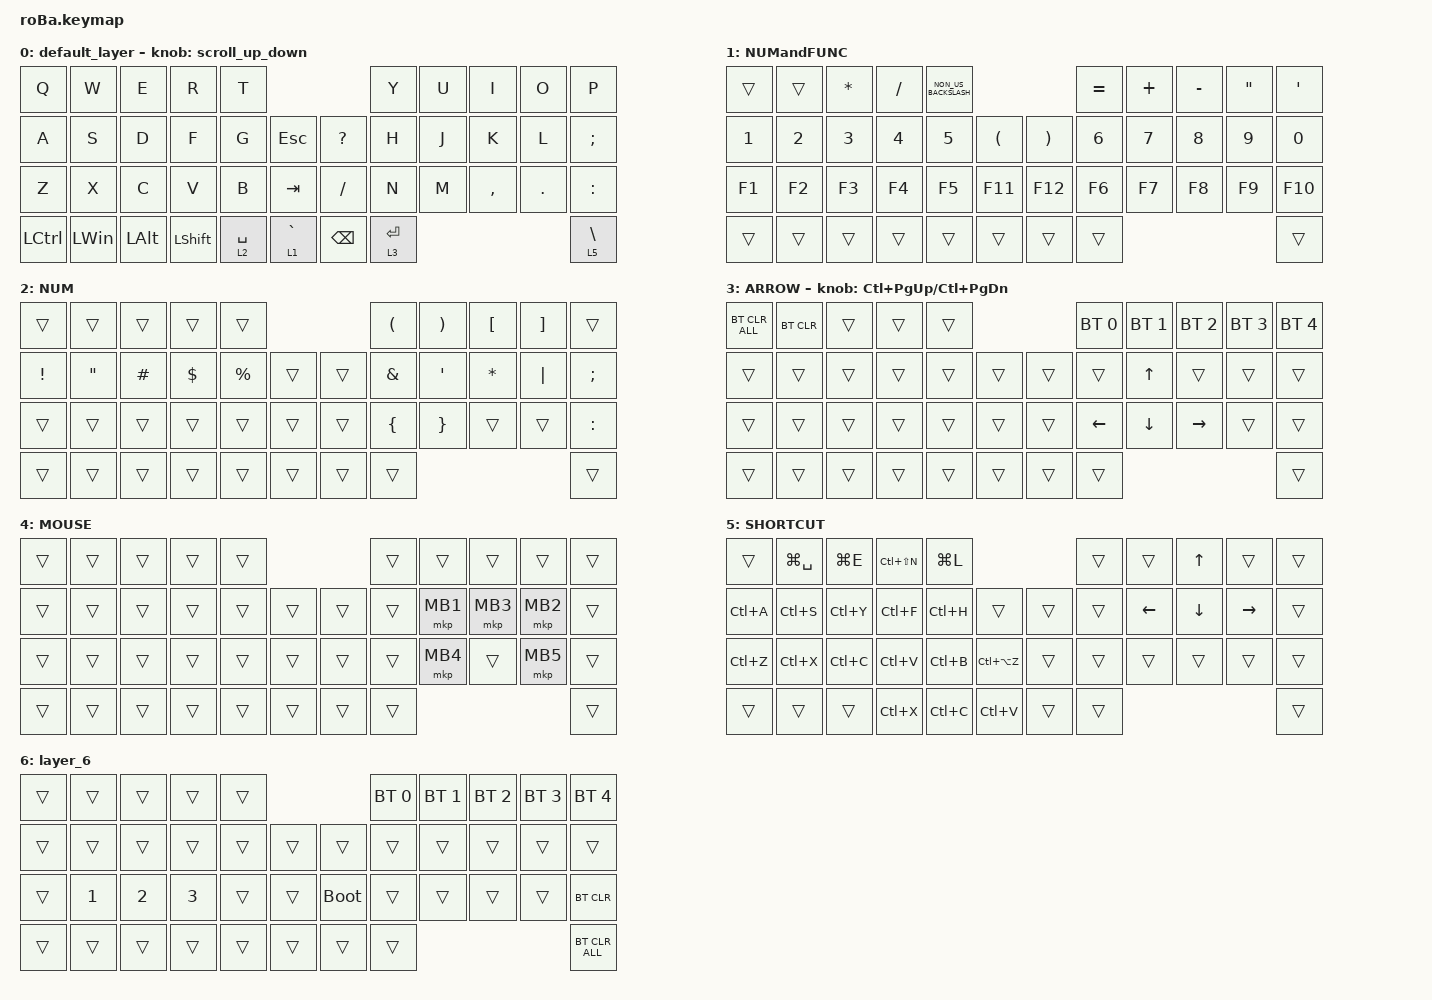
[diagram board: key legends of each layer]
#include <behaviors.dtsi>
#include <dt-bindings/zmk/bt.h>
#include <dt-bindings/zmk/keys.h>
#include <dt-bindings/zmk/pointing.h>

#define ZMK_POINTING_DEFAULT_SCRL_VAL 100

&mt {
    flavor = "balanced";
    quick-tap-ms = <0>;
};

/ {
    combos {
        compatible = "zmk,combos";

        tab {
            bindings = <&kp TAB>;
            key-positions = <11 12>;
        };

        shift_tab {
            bindings = <&kp LS(TAB)>;
            key-positions = <12 13>;
        };

        muhennkann {
            bindings = <&to_layer_0 INT_MUHENKAN>;
            key-positions = <11 10>;
        };

        double_quotation {
            bindings = <&kp DOUBLE_QUOTES>;
            key-positions = <20 21>;
        };

        eq {
            bindings = <&kp EQUAL>;
            key-positions = <24 25>;
        };
    };

    macros {
        to_layer_0: to_layer_0 {
            compatible = "zmk,behavior-macro-one-param";
            #binding-cells = <1>;
            bindings = <&to 0 &macro_param_1to1 &kp MACRO_PLACEHOLDER>;
            label = "TO_LAYER_0";
        };
    };

    behaviors {
        scroll_up_down: behavior_sensor_rotate_mouse_wheel_up_down {
            compatible = "zmk,behavior-sensor-rotate";
            #sensor-binding-cells = <0>;
            bindings = <&msc SCRL_DOWN>, <&msc SCRL_UP>;

            // 追加: スクロールのタップ時間を設定 (20ms)

            tap-ms = <20>;
        };

        lt_to_layer_0: lt_to_layer_0 {
            compatible = "zmk,behavior-hold-tap";
            label = "LAYER_TAP_TO_0";
            bindings = <&mo>, <&to_layer_0>;

            #binding-cells = <2>;
            tapping-term-ms = <200>;
        };

        encoder_msc_down_up: encoder_msc_down_up {
            compatible = "zmk,behavior-sensor-rotate";
            label = "ENCODER_MSC_DOWN_UP";
            #sensor-binding-cells = <0>;
            bindings = <&msc SCRL_DOWN>, <&msc SCRL_UP>;

            tap-ms = <20>;
        };
    };

    keymap {
        compatible = "zmk,keymap";

        default_layer {
            bindings = <
&kp Q      &kp W         &kp E         &kp R           &kp T                                        &kp Y        &kp U  &kp I      &kp O    &kp P
&kp A      &kp S         &kp D         &kp F           &kp G        &kp ESCAPE       &kp QUESTION   &kp H        &kp J  &kp K      &kp L    &kp SEMICOLON
&kp Z      &kp X         &kp C         &kp V           &kp B        &kp TAB          &kp SLASH      &kp N        &kp M  &kp COMMA  &kp DOT  &kp COLON
&kp LCTRL  &kp LEFT_WIN  &kp LEFT_ALT  &kp LEFT_SHIFT  &lt 2 SPACE  &lt 1 GRAVE      &kp BACKSPACE  &lt 3 ENTER                             &lt 5 BACKSLASH
            >;

            // sensor-bindings = <&scroll_up_down>;
            // sensor-bindings = <&inc_dec_kp PG_UP PAGE_DOWN>;

            sensor-bindings = <&scroll_up_down>;
        };

        NUMandFUNC {
            bindings = <
&trans        &trans        &kp ASTERISK  &kp SLASH     &kp NON_US_BACKSLASH                                                   &kp EQUAL     &kp PLUS      &kp MINUS     &kp DOUBLE_QUOTES  &kp SQT
&kp NUMBER_1  &kp NUMBER_2  &kp NUMBER_3  &kp NUMBER_4  &kp NUMBER_5          &kp LEFT_PARENTHESIS      &kp RIGHT_PARENTHESIS  &kp NUMBER_6  &kp NUMBER_7  &kp NUMBER_8  &kp NUMBER_9       &kp NUMBER_0
&kp F1        &kp F2        &kp F3        &kp F4        &kp F5                &kp F11                   &kp F12                &kp F6        &kp F7        &kp F8        &kp F9             &kp F10
&trans        &trans        &trans        &trans        &trans                &trans                    &trans                 &trans                                                       &trans
            >;
        };

        NUM {
            bindings = <
&trans           &trans             &trans    &trans      &trans                           &kp LEFT_PARENTHESIS  &kp RIGHT_PARENTHESIS  &kp LEFT_BRACKET  &kp RIGHT_BRACKET  &trans
&kp EXCLAMATION  &kp DOUBLE_QUOTES  &kp HASH  &kp DOLLAR  &kp PERCENT  &trans      &trans  &kp AMPERSAND         &kp SQT                &kp ASTERISK      &kp PIPE           &kp SEMICOLON
&trans           &trans             &trans    &trans      &trans       &trans      &trans  &kp LEFT_BRACE        &kp RIGHT_BRACE        &trans            &trans             &kp COLON
&trans           &trans             &trans    &trans      &trans       &trans      &trans  &trans                                                                            &trans
            >;
        };

        ARROW {
            bindings = <
&bt BT_CLR_ALL  &bt BT_CLR  &trans  &trans  &trans                      &bt BT_SEL 0    &bt BT_SEL 1    &bt BT_SEL 2     &bt BT_SEL 3  &bt BT_SEL 4
&trans          &trans      &trans  &trans  &trans  &trans      &trans  &trans          &kp UP_ARROW    &trans           &trans        &trans
&trans          &trans      &trans  &trans  &trans  &trans      &trans  &kp LEFT_ARROW  &kp DOWN_ARROW  &kp RIGHT_ARROW  &trans        &trans
&trans          &trans      &trans  &trans  &trans  &trans      &trans  &trans                                                         &trans
            >;

            sensor-bindings = <&inc_dec_kp LC(PAGE_UP) LC(PAGE_DOWN)>;
        };

        MOUSE {
            bindings = <
&trans  &trans  &trans  &trans  &trans                      &trans  &trans    &trans    &trans    &trans
&trans  &trans  &trans  &trans  &trans  &trans      &trans  &trans  &mkp MB1  &mkp MB3  &mkp MB2  &trans
&trans  &trans  &trans  &trans  &trans  &trans      &trans  &trans  &mkp MB4  &trans    &mkp MB5  &trans
&trans  &trans  &trans  &trans  &trans  &trans      &trans  &trans                                &trans
            >;
        };

        SHORTCUT {
            bindings = <
&trans     &kp LG(SPACE)  &kp LG(E)  &kp LC(LS(N))  &kp LG(L)                             &trans  &trans          &kp UP_ARROW    &trans           &trans
&kp LC(A)  &kp LC(S)      &kp LC(Y)  &kp LC(F)      &kp LC(H)  &trans             &trans  &trans  &kp LEFT_ARROW  &kp DOWN_ARROW  &kp RIGHT_ARROW  &trans
&kp LC(Z)  &kp LC(X)      &kp LC(C)  &kp LC(V)      &kp LC(B)  &kp LC(LA(Z))      &trans  &trans  &trans          &trans          &trans           &trans
&trans     &trans         &trans     &kp LC(X)      &kp LC(C)  &kp LC(V)          &trans  &trans                                                   &trans
            >;
        };

        layer_6 {
            bindings = <
&trans  &trans        &trans        &trans        &trans                           &bt BT_SEL 0  &bt BT_SEL 1  &bt BT_SEL 2  &bt BT_SEL 3  &bt BT_SEL 4
&trans  &trans        &trans        &trans        &trans  &trans      &trans       &trans        &trans        &trans        &trans        &trans
&trans  &kp NUMBER_1  &kp NUMBER_2  &kp NUMBER_3  &trans  &trans      &bootloader  &trans        &trans        &trans        &trans        &bt BT_CLR
&trans  &trans        &trans        &trans        &trans  &trans      &trans       &trans                                                  &bt BT_CLR_ALL
            >;
        };
    };
};
